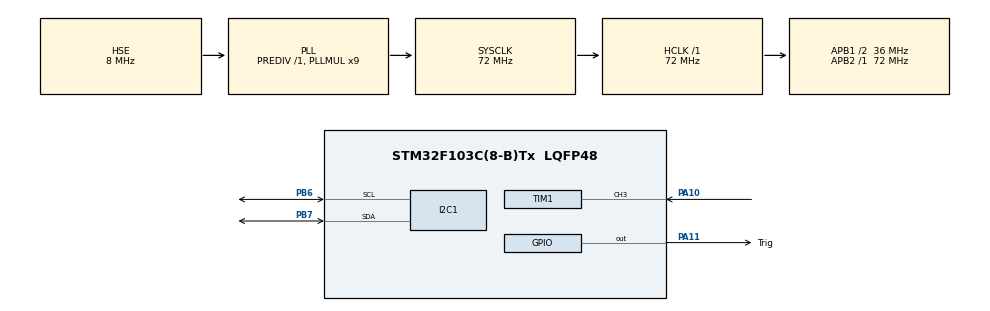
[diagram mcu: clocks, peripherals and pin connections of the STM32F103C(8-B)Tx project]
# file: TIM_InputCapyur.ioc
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Mcu.Family=STM32F1
Mcu.Name=STM32F103C(8-B)Tx
Mcu.Package=LQFP48
NVIC.PriorityGroup=NVIC_PRIORITYGROUP_4
NVIC.TIM1_CC_IRQn=true\:0\:0\:false\:false\:true\:true\:true\:true
PA10.Signal=S_TIM1_CH3
PA11.GPIO_Label=Trig
PA11.Signal=GPIO_Output
PA13.Mode=Serial_Wire
PA13.Signal=SYS_JTMS-SWDIO
PA14.Mode=Serial_Wire
PA14.Signal=SYS_JTCK-SWCLK
PB6.Mode=I2C
PB6.Signal=I2C1_SCL
PB7.Mode=I2C
PB7.Signal=I2C1_SDA
PD0-OSC_IN.Mode=HSE-External-Oscillator
PD0-OSC_IN.Signal=RCC_OSC_IN
PD1-OSC_OUT.Mode=HSE-External-Oscillator
PD1-OSC_OUT.Signal=RCC_OSC_OUT
ProjectManager.HeapSize=0x200
ProjectManager.StackSize=0x400
ProjectManager.TargetToolchain=CMake
RCC.AHBFreq_Value=72000000
RCC.APB1CLKDivider=RCC_HCLK_DIV2
RCC.APB1Freq_Value=36000000
RCC.APB1TimFreq_Value=72000000
RCC.APB2Freq_Value=72000000
RCC.APB2TimFreq_Value=72000000
RCC.HCLKFreq_Value=72000000
RCC.PLLMUL=RCC_PLL_MUL9
RCC.PLLSourceVirtual=RCC_PLLSOURCE_HSE
RCC.SYSCLKFreq_VALUE=72000000
RCC.SYSCLKSource=RCC_SYSCLKSOURCE_PLLCLK
RCC.USBFreq_Value=72000000
SH.S_TIM1_CH3.0=TIM1_CH3,Input_Capture3_from_TI3
TIM1.Channel-Input_Capture3_from_TI3=TIM_CHANNEL_3
TIM1.Channel-Input_Capture4_from_TI3_63=TIM_CHANNEL_4
TIM1.ICPolarity_CH4=TIM_INPUTCHANNELPOLARITY_FALLING
TIM1.Prescaler=72
VP_TIM1_VS_ClockSourceINT.Mode=Internal
VP_TIM1_VS_indirect_ch3.Mode=Input_Capture4_from_TI3_63
board=custom

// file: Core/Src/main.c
/* USER CODE BEGIN Header */
/**
  ******************************************************************************
  * @file           : main.c
  * @brief          : Main program body
  ******************************************************************************
  * @attention
  *
  * Copyright (c) 2026 STMicroelectronics.
  * All rights reserved.
  *
  * This software is licensed under terms that can be found in the LICENSE file
  * in the root directory of this software component.
  * If no LICENSE file comes with this software, it is provided AS-IS.
  *
  ******************************************************************************
  */
/* USER CODE END Header */
#include "main.h"
#include "i2c.h"
#include "stm32f1xx_hal_rcc_ex.h"
#include "stm32f1xx_hal_tim.h"
#include "tim.h"
#include "gpio.h"

/* USER CODE BEGIN Includes */
#include "oled.h"    /* OLED 显示屏驱动 */
#include "stdio.h"   /* 标准输入输出库，用于 sprintf */
#include "string.h"  /* 字符串操作库，用于 strlen */
/* USER CODE END Includes */

void SystemClock_Config(void);

/* USER CODE BEGIN 0 */
/* HC-SR04 超声波测距：TIM1_CH3 捕获上升沿，CH4 捕获下降沿，差值即为脉冲宽度 */
int upEdge = 0;      /* 上升沿 TIM 计数值 */
int downEdge = 0;    /* 下降沿 TIM 计数值 */
float distance = 0;  /* 计算出的距离（cm） */

/* TIM1 输入捕获回调：CH4 捕获到下降沿时触发 */
void HAL_TIM_IC_CaptureCallback(TIM_HandleTypeDef *htim){
  if(htim == &htim1 && htim->Channel == HAL_TIM_ACTIVE_CHANNEL_4){
    upEdge = HAL_TIM_ReadCapturedValue(htim, TIM_CHANNEL_3);   /* 读取上升沿时间 */
    downEdge = HAL_TIM_ReadCapturedValue(htim, TIM_CHANNEL_4); /* 读取下降沿时间 */
    distance = (downEdge - upEdge) * 0.034 / 2;  /* 脉冲宽度 × 声速(0.034cm/μs) ÷ 2 = 距离(cm) */
  }
}
/* USER CODE END 0 */

int main(void)
{

  /* MCU Configuration--------------------------------------------------------*/

  /* Reset of all peripherals, Initializes the Flash interface and the Systick. */
  HAL_Init();

  /* Configure the system clock */
  SystemClock_Config();

  /* Initialize all configured peripherals */
  MX_GPIO_Init();
  MX_I2C1_Init();
  MX_TIM1_Init();
  /* USER CODE BEGIN 2 */
  char message[20] = "";   /* OLED 显示缓冲区 */

  HAL_Delay(20);                              /* 等待 OLED 上电稳定 */
  OLED_Init();                                /* 初始化 OLED */
  HAL_TIM_Base_Start(&htim1);                 /* 启动 TIM1 基时（Prescaler=72，1MHz=1μs/计数） */
  HAL_TIM_IC_Start(&htim1, TIM_CHANNEL_3);    /* 启动 CH3 输入捕获（上升沿） */
  HAL_TIM_IC_Start_IT(&htim1, TIM_CHANNEL_4); /* 启动 CH4 输入捕获（下降沿，中断方式） */
  /* USER CODE END 2 */

  /* Infinite loop */
  /* USER CODE BEGIN WHILE */
  while (1)
  {
    /* 发送 Trig 脉冲（≥10μs）触发 HC-SR04 测距 */
    HAL_GPIO_WritePin(Trig_GPIO_Port, Trig_Pin, GPIO_PIN_SET);   /* Trig 拉高 */
    HAL_Delay(1);                                                 /* 保持 1ms 高电平 */
    HAL_GPIO_WritePin(Trig_GPIO_Port, Trig_Pin, GPIO_PIN_RESET); /* Trig 拉低，传感器开始发送超声波 */
    __HAL_TIM_SET_COUNTER(&htim1, 0);                             /* 计数器归零，准备测量回波脉宽 */
    HAL_Delay(20);                                                /* 等待测距完成 */

    OLED_NewFrame();                                              /* 开始新一帧绘制 */
    sprintf(message, "距离: %.2f cm", distance);                   /* 格式化距离字符串 */
    OLED_PrintString(0, 0, message, &font16x16, OLED_COLOR_NORMAL); /* OLED 显示距离 */
    OLED_ShowFrame();                                             /* 刷新显示 */
    /* USER CODE END WHILE */

  }
}

void SystemClock_Config(void)
{
  RCC_OscInitTypeDef RCC_OscInitStruct = {0};
  RCC_ClkInitTypeDef RCC_ClkInitStruct = {0};

  /** Initializes the RCC Oscillators according to the specified parameters
  * in the RCC_OscInitTypeDef structure.
  */
  RCC_OscInitStruct.OscillatorType = RCC_OSCILLATORTYPE_HSE;
  RCC_OscInitStruct.HSEState = RCC_HSE_ON;
  RCC_OscInitStruct.HSEPredivValue = RCC_HSE_PREDIV_DIV1;
  RCC_OscInitStruct.HSIState = RCC_HSI_ON;
  RCC_OscInitStruct.PLL.PLLState = RCC_PLL_ON;
  RCC_OscInitStruct.PLL.PLLSource = RCC_PLLSOURCE_HSE;
  RCC_OscInitStruct.PLL.PLLMUL = RCC_PLL_MUL9;
  if (HAL_RCC_OscConfig(&RCC_OscInitStruct) != HAL_OK)
  {
    Error_Handler();
  }

  /** Initializes the CPU, AHB and APB buses clocks
  */
  RCC_ClkInitStruct.ClockType = RCC_CLOCKTYPE_HCLK|RCC_CLOCKTYPE_SYSCLK
                              |RCC_CLOCKTYPE_PCLK1|RCC_CLOCKTYPE_PCLK2;
  RCC_ClkInitStruct.SYSCLKSource = RCC_SYSCLKSOURCE_PLLCLK;
  RCC_ClkInitStruct.AHBCLKDivider = RCC_SYSCLK_DIV1;
  RCC_ClkInitStruct.APB1CLKDivider = RCC_HCLK_DIV2;
  RCC_ClkInitStruct.APB2CLKDivider = RCC_HCLK_DIV1;

  if (HAL_RCC_ClockConfig(&RCC_ClkInitStruct, FLASH_LATENCY_2) != HAL_OK)
  {
    Error_Handler();
  }
}

void Error_Handler(void)
{
  __disable_irq();
  while (1)
  {
  }
}
